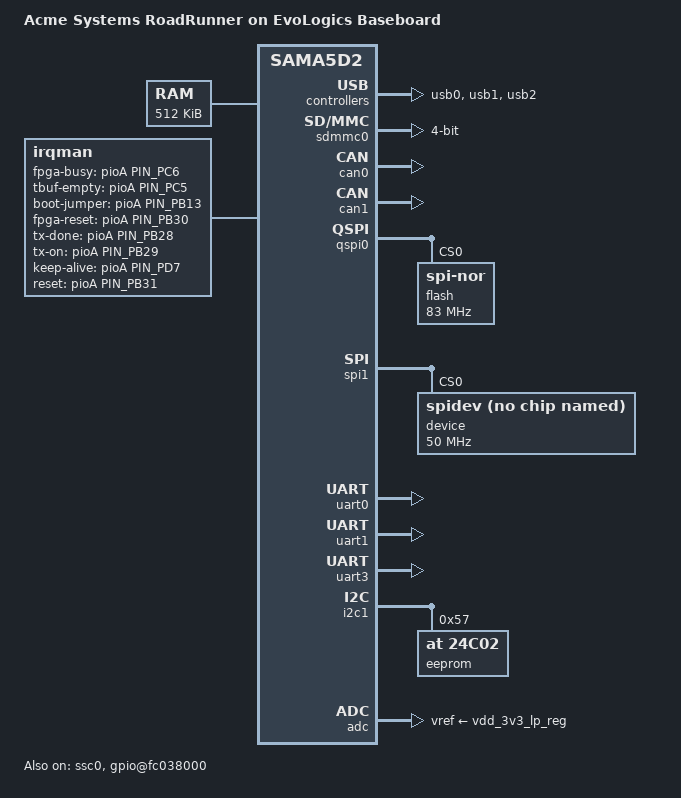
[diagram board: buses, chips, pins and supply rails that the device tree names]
/*
 * acme-roadrunner-evomini2.dtsi - DTS include for the evomini2 board
 *
 *  Copyright (C) 2015 Atmel,
 *                2015 Nicolas Ferre <nicolas.ferre@atmel.com>
 *                2017 Sergio Tanzilli <tanzilli@acmesystems.it>
 *
 * This file is dual-licensed: you can use it either under the terms
 * of the GPL or the X11 license, at your option. Note that this dual
 * licensing only applies to this file, and not this project as a
 * whole.
 *
 *  a) This file is free software; you can redistribute it and/or
 *     modify it under the terms of the GNU General Public License as
 *     published by the Free Software Foundation; either version 2 of the
 *     License, or (at your option) any later version.
 *
 *     This file is distributed in the hope that it will be useful,
 *     but WITHOUT ANY WARRANTY; without even the implied warranty of
 *     MERCHANTABILITY or FITNESS FOR A PARTICULAR PURPOSE.  See the
 *     GNU General Public License for more details.
 *
 * Or, alternatively,
 *
 *  b) Permission is hereby granted, free of charge, to any person
 *     obtaining a copy of this software and associated documentation
 *     files (the "Software"), to deal in the Software without
 *     restriction, including without limitation the rights to use,
 *     copy, modify, merge, publish, distribute, sublicense, and/or
 *     sell copies of the Software, and to permit persons to whom the
 *     Software is furnished to do so, subject to the following
 *     conditions:
 *
 *     The above copyright notice and this permission notice shall be
 *     included in all copies or substantial portions of the Software.
 *
 *     THE SOFTWARE IS PROVIDED "AS IS", WITHOUT WARRANTY OF ANY KIND,
 *     EXPRESS OR IMPLIED, INCLUDING BUT NOT LIMITED TO THE WARRANTIES
 *     OF MERCHANTABILITY, FITNESS FOR A PARTICULAR PURPOSE AND
 *     NONINFRINGEMENT. IN NO EVENT SHALL THE AUTHORS OR COPYRIGHT
 *     HOLDERS BE LIABLE FOR ANY CLAIM, DAMAGES OR OTHER LIABILITY,
 *     WHETHER IN AN ACTION OF CONTRACT, TORT OR OTHERWISE, ARISING
 *     FROM, OUT OF OR IN CONNECTION WITH THE SOFTWARE OR THE USE OR
 *     OTHER DEALINGS IN THE SOFTWARE.
 */
#include "sama5d2.dtsi"
#include "sama5d2-pinfunc.h"
#include <dt-bindings/dma/at91.h>
#include <dt-bindings/pinctrl/at91.h>
#include <dt-bindings/interrupt-controller/irq.h>
#include <dt-bindings/mfd/atmel-flexcom.h>
#include <dt-bindings/gpio/gpio.h>

/ {
	model = "Acme Systems RoadRunner on EvoLogics Baseboard";
	compatible = "atmel,sama5d2-evomini2", "atmel,sama5d2", "atmel,sama5";

	aliases {
		ssc0 = &ssc0;
		serial0 = &uart1;
		serial1 = &uart0;
		serial2 = &uart3;
		serial5 = &uart5;
	};

	chosen {
		stdout-path = "serial0:115200n8";
		//bootargs = "mem=256M console=ttyS0,115200 root=/dev/mmcblk0p2 rootfstype=ext4 rw rootwait debug";

		//bootargs = "mem=256M console=ttyS0,115200 ubi.mtd=rootfs root=ubi0:sama5d2-roadrunner-evomini2-rootfs rootfstype=ubifs rw debug";
		bootargs = "mem=256M console=ttyS0,115200 ubi.mtd=rootfs root=ubi0:sama5d2-roadrunner-evomini2-rootfs rootfstype=ubifs quiet ro";
		//bootargs = "mem=256M console=ttyS0,115200 root=/dev/mtdblock3 rw rootfstype=jffs2 debug";
		//bootargs = "mem=256M console=ttyS0,115200 ubi.mtd=rootfs root=ubi0:sama5d2-roadrunner-evomini2-rootfs rootfstype=ubifs rw debug init=/bin/sh";
		//bootargs = "mem=256M console=ttyS0,115200 ubi.mtd=rootfs root=ubi0:sama5d2-roadrunner-evomini2-rootfs rootfstype=ubifs rw debug init=/bin/sh dynamic_debug.verbose=1 dyndbg=\"module ubi +p; module ubifs +p\" loglevel=8";
		//bootargs = "mem=256M console=ttyS0,115200 ubi.mtd=rootfs root=ubi0:sama5d2-roadrunner-evomini2-rootfs rootfstype=ubifs rw debug dynamic_debug.verbose=1 dyndbg=\"module ubi +p; module ubifs +p\"";

		//bootargs = "mem=256M console=ttyS0,115200 ubi.mtd=rootfs ubi.block=0,0 root=/dev/ubiblock0_0 rootfstype=ubifs rootwait=1 rw debug dynamic_debug.verbose=1 dyndbg=\"module ubi +p; module ubifs +p\"";


		//bootargs = "mem=256M console=ttyS0,115200 root=/dev/mtdblock3 rw rootfstype=jffs2 dynamic_debug.verbose=1 dyndbg=\"module spi_nor +flmp; file atmel-quadspi.c +flmp\" debug loglevel=8";
		//bootargs = "mem=256M console=ttyS0,115200 root=/dev/mtdblock3 rw rootfstype=jffs2 dynamic_debug.verbose=1 dyndbg=\"module spi_nor +flmp; file atmel-quadspi.c +flmp\"";

		//bootargs = "mem=256M console=ttyS0,115200 root=/dev/mtdblock3 rw rootfstype=jffs2 dyndbg='format atmel_quadspi +p'";

		//bootargs = "mem=256M console=ttyS0,115200 ubi.mtd=rootfs root=ubi0:sama5d2-roadrunner-evomini2-rootfs rootfstype=ubifs rootwait=1 rw loglevel=8 debug noinitrd ubi.fm_autoconvert=1 ddebug_query=\"format UBIFS DBG rcvry\" ddebug_query=\"format UBIFS DBG mnt\" ddebug_query=\"format UBIFS DBG scan\"";
		//bootargs = "mem=256M console=ttyS0,115200 ubi.mtd=rootfs root=ubi0:sama5d2-roadrunner-evomini2-rootfs rootfstype=ubifs rootwait=1 rw loglevel=8 debug noinitrd ubi.fm_autoconvert=1 ddebug_query=\"format UBIFS DBG rcvry\" ddebug_query=\"format UBIFS DBG mnt\" ddebug_query=\"format UBIFS DBG scan\"";

		//bootargs = "mem=256M console=ttyS0,115200 root=31:03 rw rootfstype=jffs2 rootwait debug";
	};

	memory {
		reg = <0x20000000 0x80000>;
	};

	clocks {
		slow_xtal {
			clock-frequency = <32768>;
		};

		main_xtal {
			clock-frequency = <12000000>;
		};
	};

	ahb {
		usb0: gadget@300000 {
			pinctrl-names = "default";
			pinctrl-0 = <&pinctrl_usba_vbus>;
			status = "okay";
		};

		usb1: ohci@400000 {
			num-ports = <3>;
			pinctrl-names = "default";
			pinctrl-0 = <&pinctrl_usb_default>;
			status = "okay";
		};

		usb2: ehci@500000 {
			status = "okay";
		};

		sdmmc0: sdio-host@a0000000 {
			bus-width = <4>;
			pinctrl-names = "default";
			pinctrl-0 = <&pinctrl_sdmmc0_default>;
			broken-cd;
			no-1-8-v;
			disable-wp;
			status = "okay";
		};

		apb {
            can0: can@f8054000 {
                pinctrl-names = "default";
                pinctrl-0 = <&pinctrl_can0_default>;
                status = "okay";
            };
            can1: can@fc050000 {
                pinctrl-names = "default";
                pinctrl-0 = <&pinctrl_can1_default>;
                status = "okay";
            };
			qspi0: spi@f0020000 {
				pinctrl-names = "default";
				pinctrl-0 = <&pinctrl_qspi0_default>;
				status = "okay";

				flash@0 {
					#address-cells = <1>;
					#size-cells = <1>;
					//compatible = "micron,n25q128a13", "jedec,spi-nor";
					compatible = "jedec,spi-nor";
					reg = <0>;
					spi-max-frequency = <83000000>;
					m25p,fast-read;

					at91bootstrap@00000000 {
						label = "at91bootstrap";
						reg = <0x00000000 0x00010000>;
					};

					dtb@00010000 {
						label = "dtb";
						reg = <0x00010000 0x00010000>;
					};

					kernel@00040000 {
						label = "kernel";
						reg = <0x00020000 0x00400000>;
					};

					rootfs@00420000 {
						label = "rootfs";
						//reg = <0x00420000 0x000be0000>; // 16 MiB
						//reg = <0x00420000 0x001df0000>; // 32 MiB
						reg = <0x00420000 0x003be0000>; // 64 MiB
						//reg = <0x00420000 0x007be0000>; // 128 MiB
						//reg = <0x00420000 0x000000000>;
					};

					rest@08000000 {
						label = "rest";
						//reg = <0x00420000 0x00000000>;
						//reg = <0x01000000 0x00000000>; // rest for rootfs 16 MiB
						//reg = <0x02210000 0x00000000>;   // rest for rootfs 32 MiB
						//reg = <0x08000000 0x00000000>; // rest for rootfs 128 MiB (?)
					};
				};
			};

			spi1: spi@fc000000 {
				pinctrl-names = "default";
				pinctrl-0 = <&pinctrl_spi1_default>;
				status = "okay";
				device@0 {
					compatible = "spidev";
					spi-max-frequency = <50000000>;	 // 50 MHz
					reg = <0>;
				};
			};

			ssc0: ssc@f8004000 {
				compatible = "atmel,at91sam9g45-ssc";
				reg = <0xf8004000 0x4000>;
				interrupts = <43 IRQ_TYPE_LEVEL_HIGH 4>;
				dmas = <&dma0
					(AT91_XDMAC_DT_MEM_IF(0) | AT91_XDMAC_DT_PER_IF(1) |
					AT91_XDMAC_DT_PERID(21))>,
					   <&dma0
					(AT91_XDMAC_DT_MEM_IF(0) | AT91_XDMAC_DT_PER_IF(1) |
					AT91_XDMAC_DT_PERID(22))>;
				dma-names = "tx", "rx";
				pinctrl-names = "default";
				pinctrl-0 = <&pinctrl_ssc0_tx &pinctrl_ssc0_rx>;
				clocks = <&ssc0_clk>;
				clock-names = "pclk";
				/* status = "disabled"; */
				status = "okay";
			};

			macb0: ethernet@f8008000 {
				phy-mode = "rmii";
				status = "disabled";
				ethernet-phy@1 {
					reg = <0x1>;
					interrupt-parent = <&pioA>;
					interrupts = <73 IRQ_TYPE_LEVEL_LOW>;
				};
			};

			/* Debug port */

			uart0: serial@f801c000 {
				pinctrl-names = "default";
				pinctrl-0 = <&pinctrl_uart0_default>;
				status = "okay";
			};

			uart1: serial@f8020000 {
				pinctrl-names = "default";
				pinctrl-0 = <&pinctrl_uart1_default>;
				status = "okay";
			};

			i2c0: i2c@f8028000 {
				dmas = <0>, <0>;
				pinctrl-names = "default";
				pinctrl-0 = <&pinctrl_i2c0_default>;
				i2c-sda-hold-time-ns = <350>;
				status = "disabled";
			};

			flx0: flexcom@f8034000 {
				atmel,flexcom-mode = <ATMEL_FLEXCOM_MODE_USART>;
				status = "disabled"; /* conflict with ISC_D2 & ISC_D3 data pins */
			};

			shdwc@f8048010 {
				atmel,shdwc-debouncer = <976>;

				input@0 {
					reg = <0>;
					atmel,wakeup-type = "low";
				};
			};

			watchdog@f8048040 {
				status = "okay";
			};

			gpio@fc038000 {
				compatible = "atmel,sama5d2-gpio";
				pinctrl-names = "default";
				pinctrl-0 = <&pinctrl_gpio>;
				status = "okay";
			};

			uart3: serial@fc008000 {
				pinctrl-names = "default";
				pinctrl-0 = <&pinctrl_uart3_default>;
				status = "okay";
			};

			flx4: flexcom@fc018000 {
				atmel,flexcom-mode = <ATMEL_FLEXCOM_MODE_USART>;
				status = "disable";

				uart5: serial@200 {
					compatible = "atmel,at91sam9260-usart";
					reg = <0x200 0x200>;
					interrupts = <23 IRQ_TYPE_LEVEL_HIGH 7>;
					clocks = <&flx4_clk>;
					clock-names = "usart";
					atmel,fifo-size = <32>;
					status = "disable";
				};

			};

			i2c1: i2c@fc028000 {
				pinctrl-names = "default";
				pinctrl-0 = <&pinctrl_i2c1_default>;
				status = "okay";

				eeprom@57 {
					compatible = "at,24c02";
					reg = <0x57>;
				};
			};

			adc: adc@fc030000 {
				compatible = "atmel,sama5d2-adc";
				vddana-supply = <&vdd_3v3_lp_reg>;
				vref-supply = <&vdd_3v3_lp_reg>;
				pinctrl-names = "default";
				pinctrl-0 = <&pinctrl_adc_default>;
				status = "okay";

				vdd_3v3_lp_reg: REG_LDO2 {
					regulator-name = "VDD_3V3_LP";
					regulator-min-microvolt = <3300000>;
					regulator-max-microvolt = <3300000>;
					regulator-always-on;
				};
			};

			/* sscdev: sscdev { */
			irqman: irqman {
				/* pinctrl-names = "default"; */
				/* pinctrl-0 = <&pinctrl_sscdev>; */
				compatible = "irqman";
				ssc = <&ssc0>;
				/* input */
				fpga-busy-gpios  = <&pioA PIN_PC6  GPIO_ACTIVE_HIGH>;
				tbuf-empty-gpios = <&pioA PIN_PC5  GPIO_ACTIVE_HIGH>;
				boot-jumper-gpios = <&pioA PIN_PB13 GPIO_ACTIVE_HIGH>;
				/* input_0 ?? */
				/* input_1 ?? */

				/* output */
				fpga-reset-gpios = <&pioA PIN_PB30 GPIO_ACTIVE_HIGH>;
				tx-done-gpios	= <&pioA PIN_PB28 GPIO_ACTIVE_HIGH>;
				tx-on-gpios	  = <&pioA PIN_PB29 GPIO_ACTIVE_HIGH>;
				keep-alive-gpios = <&pioA PIN_PD7  GPIO_ACTIVE_HIGH>;
				reset-gpios	  = <&pioA PIN_PB31 GPIO_ACTIVE_HIGH>;
				power-gpios	  = <&pioA PIN_PD8  GPIO_ACTIVE_HIGH>;

				optocoupler0-gpios = <&pioA PIN_PD6  GPIO_ACTIVE_HIGH>;

				/* irq */
				dsp-irq-gpios	= <&pioA PIN_PB3  GPIO_ACTIVE_HIGH>;
				irq1-gpios	   = <&pioA PIN_PB2  GPIO_ACTIVE_HIGH>;
				fiq-gpios		= <&pioA PIN_PB4  GPIO_ACTIVE_HIGH>;
			};

			pinctrl@fc038000 {
				pinctrl_can0_default: can0_default {
					pinmux = <PIN_PC10__CANTX0>,
						 <PIN_PC11__CANRX0>;
					bias-disable;
				};

				pinctrl_can1_default: can1_default {
					pinmux = <PIN_PC26__CANTX1>,
						 <PIN_PC27__CANRX1>;
					bias-disable;
				};

				pinctrl_sscdev: sscdev_default {
					pinmux = <PIN_PD8__GPIO>,  /* power */
							 <PIN_PB31__GPIO>, /* reset */
							 <PIN_PB30__GPIO>, /* fpga reset */
							 <PIN_PB28__GPIO>, /* tx done */

							 <PIN_PB29__GPIO>, /* tx on */
							 <PIN_PD7__GPIO>,  /* keep alive */
							 <PIN_PC6__GPIO>,  /* fpga busy */
							 <PIN_PC5__GPIO>,  /* tbud empty */

							 <PIN_PB3__GPIO>,  /* dsp irq */
							 <PIN_PB2__GPIO>;  /* irq1 */
					bias-pull-up;
				};

				/* Set as GPIO the pins that are not by default */
				pinctrl_gpio: gpio_default {
					pinmux = <PIN_PD4__GPIO>,
							 <PIN_PD5__GPIO>,
							 <PIN_PD21__GPIO>, /* CAN 0 enable */
							 <PIN_PD22__GPIO>, /* CAN 1 enable */
							 <PIN_PD14__GPIO>, /* eth grx1 */
							 <PIN_PD15__GPIO>, /* eth gtx0 */
							 <PIN_PD16__GPIO>, /* eth gtx1 */
							 <PIN_PD17__GPIO>; /* eth gmdc */

					/* ENA_FUSE2V5 - PB0 "def low"
					 BOOT_MODE   - PB13  "low that jumper is installed"
					 CFG.STRAP0 PC12
					 CFG.STRAP1 PC13
					 CFG.STRAP2 PC14
					 CFG.STRAP3 PC15
					 CFG.STRAP4 PC 9
					 power-fuses-gpios = <&pioA PIN_PB10 GPIO_ACTIVE_HIGH>;
					*/
					bias-pull-up;
				};
				/*
				 * There is no real pinmux for ADC, if the pin
				 * is not requested by another peripheral then
				 * the muxing is done when channel is enabled.
				 * Requesting pins for ADC is GPIO is
				 * encouraged to prevent conflicts and to
				 * disable bias in order to be in the same
				 * state when the pin is not muxed to the adc.
				 */
				pinctrl_adc_default: adc_default {
					pinmux = <PIN_PD23__GPIO>;
					bias-disable;
				};

				pinctrl_charger_chglev: charger_chglev {
					pinmux = <PIN_PA12__GPIO>;
					bias-disable;
				};

				pinctrl_charger_irq: charger_irq {
					pinmux = <PIN_PB13__GPIO>;
					bias-disable;
				};

				pinctrl_charger_lbo: charger_lbo {
					pinmux = <PIN_PC8__GPIO>;
					bias-pull-up;
				};

				pinctrl_flx0_default: flx0_default {
					pinmux = <PIN_PB28__FLEXCOM0_IO0>,
						 <PIN_PB29__FLEXCOM0_IO1>;
					bias-disable;
				};

				pinctrl_flx4_default: flx4_default {
					pinmux = <PIN_PC28__FLEXCOM4_IO0>,
                             <PIN_PC29__FLEXCOM4_IO1>,
                             <PIN_PD0__FLEXCOM4_IO4>;
					bias-disable;
				};

				pinctrl_flx4_rts: flx4_rts {
					pinmux = <PIN_PD0__FLEXCOM4_IO4>;
					bias-disable;
				};

				pinctrl_i2c0_default: i2c0_default {
					pinmux = <PIN_PD21__TWD0>,
						 <PIN_PD22__TWCK0>;
					bias-disable;
				};

				pinctrl_i2c1_default: i2c1_default {
					pinmux = <PIN_PD19__TWD1>,
						 <PIN_PD20__TWCK1>;
					bias-disable;
				};

				pinctrl_pdmic_default: pdmic_default {
					pinmux = <PIN_PB26__PDMIC_DAT>,
						<PIN_PB27__PDMIC_CLK>;
					bias-disable;
				};

				pinctrl_sdmmc0_default: sdmmc0_default {
					cmd_data {
						pinmux = <PIN_PA1__SDMMC0_CMD>,
							 <PIN_PA2__SDMMC0_DAT0>,
							 <PIN_PA3__SDMMC0_DAT1>,
							 <PIN_PA4__SDMMC0_DAT2>,
							 <PIN_PA5__SDMMC0_DAT3>;
						bias-pull-up;
					};

					conf-ck {
						pinmux = <PIN_PA0__SDMMC0_CK>;
						/* drive-strength = <2>; */
						bias-disable;
					};

					/* The cd line is used on microSD socket */
					conf-cd {
						pinmux = <PIN_PA13__SDMMC0_CD>;
						bias-pull-down;
					};
				};

				pinctrl_qspi0_default: qspi0_default {
					sck_cs {
						pinmux = <PIN_PA22__QSPI0_SCK>,
							 <PIN_PA23__QSPI0_CS>;
						bias-disable;
					};

					data {
						pinmux = <PIN_PA24__QSPI0_IO0>,
							 <PIN_PA25__QSPI0_IO1>,
							 <PIN_PA26__QSPI0_IO2>,
							 <PIN_PA27__QSPI0_IO3>;
						bias-pull-up;
					};
				};


				pinctrl_spi0_default: spi0_default {
					pinmux = <PIN_PA14__SPI0_SPCK>,
						 <PIN_PA15__SPI0_MOSI>,
						 <PIN_PA16__SPI0_MISO>,
						 <PIN_PA17__SPI0_NPCS0>;
					bias-disable;
				};

				pinctrl_spi1_default: spi1_default {
					pinmux = <PIN_PC1__SPI1_SPCK>,
						 <PIN_PC2__SPI1_MOSI>,
						 <PIN_PC3__SPI1_MISO>,
						 <PIN_PC4__SPI1_NPCS0>;
					bias-disable;
				};

				ssc0 {
					pinctrl_ssc0_tx: ssc0_tx {
						pinmux = <PIN_PB20__TK0>,   /* periph E TK0 */
								 <PIN_PB21__TF0>,   /* periph E TF0 */
								 <PIN_PB22__TD0>;   /* periph E TD0 WTF!!!! */
						bias-pull-up;
						drive-strength = <2>;
					};

					pinctrl_ssc0_rx: ssc0_rx {
						pinmux = <PIN_PB24__RK0>,   /* periph E RK0 */
								 <PIN_PB25__RF0>,   /* periph E RF0 */
								 <PIN_PB23__RD0>;	/* periph E RD0 */
						bias-pull-up;
						input-schmitt-enable;
					};
				};

				ssc1 {
					pinctrl_ssc1_tx: ssc1_tx {
						pinmux = <PIN_PB14__TK1>,   /* PC12 periph E TK1 */
								 <PIN_PB15__TF1>,   /* PC13 periph E TF1 */
								 <PIN_PB16__TD1>;   /* PC14 periph E TD1 */
						bias-pull-up;
						drive-strength = <2>;
					};

					pinctrl_ssc1_rx: ssc1_rx {
						pinmux = <PIN_PB18__RK1>,   /* periph E RK1 */
								 <PIN_PB19__RF1>,   /* periph E RF1 */
								 <PIN_PB17__RD1>;	/* periph E RD1 */
						bias-pull-up;
						input-schmitt-enable;
					};
				};

				pinctrl_uart0_default: uart0_default {
					pinmux = <PIN_PB26__URXD0>,
							 <PIN_PB27__UTXD0>;
					bias-disable;
				};

				pinctrl_uart1_default: uart1_default {
					pinmux = <PIN_PD2__URXD1>,
						 <PIN_PD3__UTXD1>;
					bias-disable;
				};

				pinctrl_uart3_default: uart3_default {
					pinmux = <PIN_PB11__URXD3>,
						 <PIN_PB12__UTXD3>;
					bias-disable;
				};

				pinctrl_usb_default: usb_default {
					pinmux = <PIN_PB10__GPIO>;
					bias-disable;
				};

				pinctrl_usba_vbus: usba_vbus {
					pinmux = <PIN_PA31__GPIO>;
					bias-disable;
				};

			};
		};
	};
};
